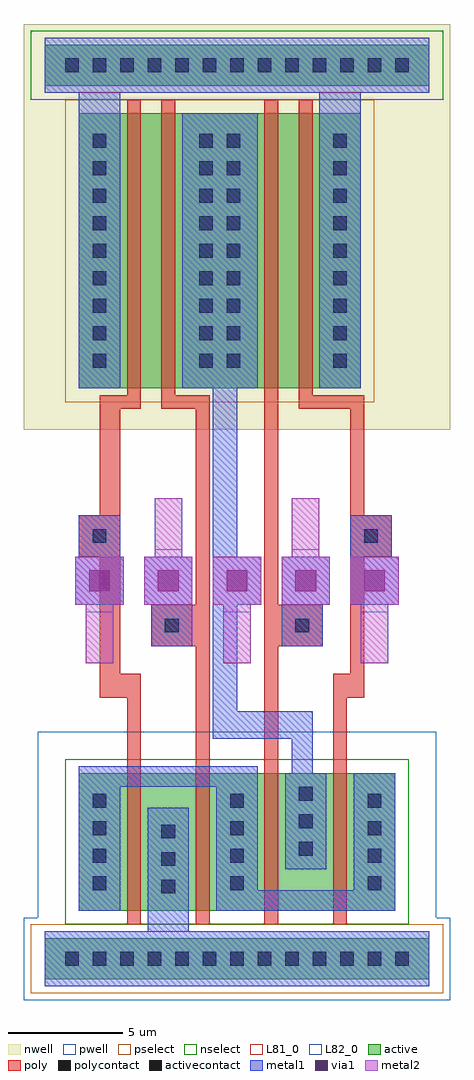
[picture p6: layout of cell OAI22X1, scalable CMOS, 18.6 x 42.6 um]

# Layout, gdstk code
import gdstk
lib = gdstk.Library(unit=1e-6, precision=1e-09)
def R(c, l, rs):  # rectangles x0, y0, x1, y1
    for r in rs: c.add(gdstk.rectangle(r[:2], r[2:], *l))
def A(c, l, x, y, w, h, nx, ny, dx, dy):  # array of equal rectangles
    R(c, l, [(x+i*dx, y+j*dy, x+i*dx+w, y+j*dy+h) for i in range(nx) for j in range(ny)])
pwell = (41, 0)
nwell = (42, 0)
active = (43, 0)
pselect = (44, 0)
nselect = (45, 0)
poly = (46, 0)
polycontact = (47, 0)
activecontact = (48, 0)
metal1 = (49, 0)
via1 = (50, 0)
metal2 = (51, 0)
L81_0 = (81, 0)
L82_0 = (82, 0)

oai22x1 = lib.new_cell('OAI22X1')
R(oai22x1, pwell, [(-1.8,-1.8,16.8,1.8), (-1.2,1.8,16.2,9.9)])
R(oai22x1, nwell, [(-1.8,23.1,16.8,40.8)])
R(oai22x1, active, [(-0.9,-0.9,15.9,0.9), (0.6,2.1,14.4,8.1), (0.6,24.9,12.9,36.9), (-0.9,38.1,15.9,39.9)])
R(oai22x1, pselect, [(-1.5,-1.5,16.5,1.5), (0,24.3,13.5,37.5)])
R(oai22x1, nselect, [(0,1.5,15,8.7), (-1.5,37.5,16.5,40.5)])
R(oai22x1, poly, [(2.7,1.5,3.3,11.4), (5.7,1.5,6.3,13.65), (8.7,1.5,9.3,13.65), (11.7,1.5,12.3,11.4), (1.5,11.4,3.3,12.45), (11.7,11.4,13.05,12.45), (1.5,12.45,2.4,17.55), (12.45,12.45,13.05,17.55), (3.75,13.65,6.3,15.45), (8.7,13.65,11.25,15.45), (5.7,15.45,6.3,24), (8.7,15.45,9.3,37.5), (0.6,17.55,2.4,19.35), (12.45,17.55,14.25,19.35), (1.5,19.35,2.4,24), (12.45,19.35,13.05,24), (1.5,24,3.3,24.6), (4.2,24,6.3,24.6), (10.2,24,13.05,24.6), (2.7,24.6,3.3,37.5), (4.2,24.6,4.8,37.5), (10.2,24.6,10.8,37.5)])
R(oai22x1, polycontact, [(4.35,14.25,4.95,14.85), (10.05,14.25,10.65,14.85), (1.2,18.15,1.8,18.75), (13.05,18.15,13.65,18.75)])
A(oai22x1, activecontact, 0, -0.3, 0.6, 0.6, 13, 2, 1.2, 39)
A(oai22x1, activecontact, 4.2, 2.85, 0.6, 0.6, 1, 3, 0, 1.2)
A(oai22x1, activecontact, 1.2, 3, 0.6, 0.6, 3, 4, 6, 1.2)
A(oai22x1, activecontact, 10.2, 4.5, 0.6, 0.6, 1, 3, 0, 1.2)
A(oai22x1, activecontact, 1.2, 25.8, 0.6, 0.6, 1, 9, 0, 1.2)
A(oai22x1, activecontact, 5.85, 25.8, 0.6, 0.6, 1, 9, 0, 1.2)
A(oai22x1, activecontact, 7.05, 25.8, 0.6, 0.6, 1, 9, 0, 1.2)
A(oai22x1, activecontact, 11.7, 25.8, 0.6, 0.6, 1, 9, 0, 1.2)
A(oai22x1, metal1, 0.45, 15.45, 2.1, 2.1, 5, 1, 3, 0)
R(oai22x1, metal1, [(-0.9,-1.2,15.9,1.2), (3.6,1.2,5.4,6.6), (0.6,2.1,2.4,7.5), (6.6,2.1,14.4,3), (6.6,3,8.4,7.5), (12.6,3,14.4,8.1), (9.6,3.9,11.4,8.1), (0.6,7.5,8.4,8.4), (9.9,8.1,10.8,9.6), (6.45,9.6,10.8,10.8), (6.45,10.8,7.5,15.45), (3.75,13.65,5.55,15.45), (9.45,13.65,11.25,15.45), (0.6,17.55,2.4,19.35), (6.45,17.55,7.5,24.9), (12.45,17.55,14.25,19.35), (0.6,24.9,2.4,37.8), (5.1,24.9,8.4,36.9), (11.1,24.9,12.9,37.8), (-0.9,37.8,15.9,40.2)])
A(oai22x1, via1, 1.05, 16.05, 0.9, 0.9, 5, 1, 3, 0)
A(oai22x1, metal2, 0.9, 12.9, 1.2, 2.55, 3, 1, 6, 0)
A(oai22x1, metal2, 0.45, 15.45, 2.1, 2.1, 5, 1, 3, 0)
R(oai22x1, metal2, [(3.9,17.55,5.1,20.1), (9.9,17.55,11.1,20.1)])
R(oai22x1, L81_0, [(-0.9,-1.2,15.9,1.2), (-0.9,37.8,15.9,40.2)])
A(oai22x1, L82_0, 0.9, 12.9, 1.2, 2.25, 3, 1, 6, 0)
R(oai22x1, L82_0, [(3.9,17.85,5.1,20.1), (9.9,17.85,11.1,20.1)])

lib.write_gds('OAI22X1.gds')
